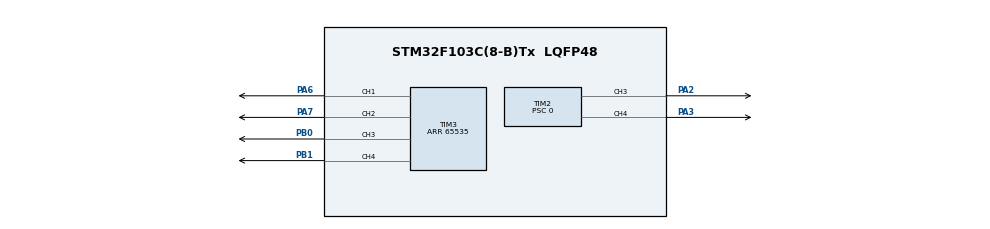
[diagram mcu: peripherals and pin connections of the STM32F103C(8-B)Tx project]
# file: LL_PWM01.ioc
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Mcu.Family=STM32F1
Mcu.Name=STM32F103C(8-B)Tx
Mcu.Package=LQFP48
NVIC.PriorityGroup=NVIC_PRIORITYGROUP_4
PA13.Mode=Serial_Wire
PA13.Signal=SYS_JTMS-SWDIO
PA14.Mode=Serial_Wire
PA14.Signal=SYS_JTCK-SWCLK
PA2.Signal=S_TIM2_CH3
PA3.Signal=S_TIM2_CH4
PA6.Signal=S_TIM3_CH1
PA7.Signal=S_TIM3_CH2
PB0.Signal=S_TIM3_CH3
PB1.Signal=S_TIM3_CH4
PD0-OSC_IN.Mode=HSE-External-Oscillator
PD0-OSC_IN.Signal=RCC_OSC_IN
PD1-OSC_OUT.Mode=HSE-External-Oscillator
PD1-OSC_OUT.Signal=RCC_OSC_OUT
ProjectManager.HeapSize=0x200
ProjectManager.StackSize=0x400
ProjectManager.TargetToolchain=STM32CubeIDE
RCC.AHBFreq_Value=72000000
RCC.APB1CLKDivider=RCC_HCLK_DIV2
RCC.APB1Freq_Value=36000000
RCC.APB1TimFreq_Value=72000000
RCC.APB2Freq_Value=72000000
RCC.APB2TimFreq_Value=72000000
RCC.HCLKFreq_Value=72000000
RCC.PLLMUL=RCC_PLL_MUL9
RCC.PLLSourceVirtual=RCC_PLLSOURCE_HSE
RCC.SYSCLKFreq_VALUE=72000000
RCC.SYSCLKSource=RCC_SYSCLKSOURCE_PLLCLK
RCC.USBFreq_Value=72000000
SH.S_TIM2_CH3.0=TIM2_CH3,PWM Generation3 CH3
SH.S_TIM2_CH4.0=TIM2_CH4,PWM Generation4 CH4
SH.S_TIM3_CH1.0=TIM3_CH1,PWM Generation1 CH1
SH.S_TIM3_CH2.0=TIM3_CH2,PWM Generation2 CH2
SH.S_TIM3_CH3.0=TIM3_CH3,PWM Generation3 CH3
SH.S_TIM3_CH4.0=TIM3_CH4,PWM Generation4 CH4
TIM2.Channel-PWM\ Generation3\ CH3=TIM_CHANNEL_3
TIM2.Channel-PWM\ Generation4\ CH4=TIM_CHANNEL_4
TIM2.Period=65535
TIM2.Prescaler=0
TIM2.TIM_MasterOutputTrigger=TIM_TRGO_RESET
TIM3.Channel-PWM\ Generation1\ CH1=TIM_CHANNEL_1
TIM3.Channel-PWM\ Generation2\ CH2=TIM_CHANNEL_2
TIM3.Channel-PWM\ Generation3\ CH3=TIM_CHANNEL_3
TIM3.Channel-PWM\ Generation4\ CH4=TIM_CHANNEL_4
TIM3.Period=65535
VP_TIM2_VS_ClockSourceINT.Mode=Internal
VP_TIM3_VS_ClockSourceINT.Mode=Internal
board=custom

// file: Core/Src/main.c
/* USER CODE BEGIN Header */
/**
  ******************************************************************************
  * @file           : main.c
  * @brief          : Main program body
  ******************************************************************************
  ** This notice applies to any and all portions of this file
  * that are not between comment pairs USER CODE BEGIN and
  * USER CODE END. Other portions of this file, whether
  * inserted by the user or by software development tools
  * are owned by their respective copyright owners.
  *
  * COPYRIGHT(c) 2019 STMicroelectronics
  *
  * Redistribution and use in source and binary forms, with or without modification,
  * are permitted provided that the following conditions are met:
  *   1. Redistributions of source code must retain the above copyright notice,
  *      this list of conditions and the following disclaimer.
  *   2. Redistributions in binary form must reproduce the above copyright notice,
  *      this list of conditions and the following disclaimer in the documentation
  *      and/or other materials provided with the distribution.
  *   3. Neither the name of STMicroelectronics nor the names of its contributors
  *      may be used to endorse or promote products derived from this software
  *      without specific prior written permission.
  *
  * THIS SOFTWARE IS PROVIDED BY THE COPYRIGHT HOLDERS AND CONTRIBUTORS "AS IS"
  * AND ANY EXPRESS OR IMPLIED WARRANTIES, INCLUDING, BUT NOT LIMITED TO, THE
  * IMPLIED WARRANTIES OF MERCHANTABILITY AND FITNESS FOR A PARTICULAR PURPOSE ARE
  * DISCLAIMED. IN NO EVENT SHALL THE COPYRIGHT HOLDER OR CONTRIBUTORS BE LIABLE
  * FOR ANY DIRECT, INDIRECT, INCIDENTAL, SPECIAL, EXEMPLARY, OR CONSEQUENTIAL
  * DAMAGES (INCLUDING, BUT NOT LIMITED TO, PROCUREMENT OF SUBSTITUTE GOODS OR
  * SERVICES; LOSS OF USE, DATA, OR PROFITS; OR BUSINESS INTERRUPTION) HOWEVER
  * CAUSED AND ON ANY THEORY OF LIABILITY, WHETHER IN CONTRACT, STRICT LIABILITY,
  * OR TORT (INCLUDING NEGLIGENCE OR OTHERWISE) ARISING IN ANY WAY OUT OF THE USE
  * OF THIS SOFTWARE, EVEN IF ADVISED OF THE POSSIBILITY OF SUCH DAMAGE.
  *
  ******************************************************************************
  */

#include <stdint.h>
/* USER CODE END Header */
#include "main.h"

void SystemClock_Config(void);
static void MX_GPIO_Init(void);
static void MX_TIM2_Init(void);
static void MX_TIM3_Init(void);

int main(void)
{
  /* USER CODE BEGIN 1 */
  uint32_t i,d;
  /* USER CODE END 1 */

  /* MCU Configuration--------------------------------------------------------*/

  /* Reset of all peripherals, Initializes the Flash interface and the Systick. */

  LL_APB2_GRP1_EnableClock(LL_APB2_GRP1_PERIPH_AFIO);
  LL_APB1_GRP1_EnableClock(LL_APB1_GRP1_PERIPH_PWR);

  NVIC_SetPriorityGrouping(NVIC_PRIORITYGROUP_4);

  /* System interrupt init*/

  /** NOJTAG: JTAG-DP Disabled and SW-DP Enabled
  */
  LL_GPIO_AF_Remap_SWJ_NOJTAG();

  /* Configure the system clock */
  SystemClock_Config();

  /* Initialize all configured peripherals */
  MX_GPIO_Init();
  MX_TIM2_Init();
  MX_TIM3_Init();
  /* USER CODE BEGIN 2 */
  LL_TIM_CC_EnableChannel(TIM2, LL_TIM_CHANNEL_CH3 | LL_TIM_CHANNEL_CH4);
  LL_TIM_CC_EnableChannel(TIM3, LL_TIM_CHANNEL_CH1 | LL_TIM_CHANNEL_CH2 | \
                          LL_TIM_CHANNEL_CH3 | LL_TIM_CHANNEL_CH4);
  LL_TIM_EnableCounter(TIM2);
  LL_TIM_EnableCounter(TIM3);
  /* USER CODE END 2 */

  /* Infinite loop */
  while (1)
  {

    /* USER CODE BEGIN 3 */
    for(i=0;i<768432;i++)
    {
      if(i<65536)  LL_TIM_OC_SetCompareCH3(TIM2,i);
      else if ((i>65535)&&(i<131072)) LL_TIM_OC_SetCompareCH3(TIM2,131071-i);//TIM2->CCR3=131071-i;
      else if((i>131071)&&(i<196608)) LL_TIM_OC_SetCompareCH4(TIM2,i-131072);//TIM2->CCR4=i-131072;
      else if ((i>196607)&&(i<262144))  LL_TIM_OC_SetCompareCH4(TIM2,262143-i);//TIM2->CCR4=262143-i;
      else if((i>262143)&&(i<327680)) LL_TIM_OC_SetCompareCH1(TIM3,i-262144);//TIM3->CCR1=i-262144;
      else if ((i>327679)&&(i<393216))  LL_TIM_OC_SetCompareCH1(TIM3,393215-i);//TIM3->CCR1=393215-i;
      else if((i>393215)&&(i<458752)) LL_TIM_OC_SetCompareCH2(TIM3,i-393216);//TIM3->CCR2=i-393216;
      else if ((i>458751)&&(i<524288))  LL_TIM_OC_SetCompareCH2(TIM3,524287-i);//TIM3->CCR2=524287-i;
      else if((i>524287)&&(i<589824)) LL_TIM_OC_SetCompareCH3(TIM3,i-524288);//TIM3->CCR3=i-524288;
      else if ((i>589823)&&(i<655360))  LL_TIM_OC_SetCompareCH3(TIM3,655359-i);//TIM3->CCR3=655359-i;
      else if((i>655359)&&(i<720896)) LL_TIM_OC_SetCompareCH4(TIM3,i-655360);//TIM3->CCR4=i-655360;
      else LL_TIM_OC_SetCompareCH4(TIM3,768431-i);//TIM3->CCR4=768431-i;
      for(d=0;d<50;d++) {}
    }
  }
  /* USER CODE END 3 */
}

void SystemClock_Config(void)
{
  LL_FLASH_SetLatency(LL_FLASH_LATENCY_2);
  while(LL_FLASH_GetLatency()!= LL_FLASH_LATENCY_2)
  {
  }
  LL_RCC_HSE_Enable();

   /* Wait till HSE is ready */
  while(LL_RCC_HSE_IsReady() != 1)
  {

  }
  LL_RCC_PLL_ConfigDomain_SYS(LL_RCC_PLLSOURCE_HSE_DIV_1, LL_RCC_PLL_MUL_9);
  LL_RCC_PLL_Enable();

   /* Wait till PLL is ready */
  while(LL_RCC_PLL_IsReady() != 1)
  {

  }
  LL_RCC_SetAHBPrescaler(LL_RCC_SYSCLK_DIV_1);
  LL_RCC_SetAPB1Prescaler(LL_RCC_APB1_DIV_2);
  LL_RCC_SetAPB2Prescaler(LL_RCC_APB2_DIV_1);
  LL_RCC_SetSysClkSource(LL_RCC_SYS_CLKSOURCE_PLL);

   /* Wait till System clock is ready */
  while(LL_RCC_GetSysClkSource() != LL_RCC_SYS_CLKSOURCE_STATUS_PLL)
  {

  }
  LL_Init1msTick(72000000);
  LL_SetSystemCoreClock(72000000);
}

static void MX_TIM2_Init(void)
{

  LL_TIM_InitTypeDef TIM_InitStruct = {0};
  LL_TIM_OC_InitTypeDef TIM_OC_InitStruct = {0};

  LL_GPIO_InitTypeDef GPIO_InitStruct = {0};

  /* Peripheral clock enable */
  LL_APB1_GRP1_EnableClock(LL_APB1_GRP1_PERIPH_TIM2);

  TIM_InitStruct.Prescaler = 0;
  TIM_InitStruct.CounterMode = LL_TIM_COUNTERMODE_UP;
  TIM_InitStruct.Autoreload = 65535;
  TIM_InitStruct.ClockDivision = LL_TIM_CLOCKDIVISION_DIV1;
  LL_TIM_Init(TIM2, &TIM_InitStruct);
  LL_TIM_DisableARRPreload(TIM2);
  LL_TIM_SetClockSource(TIM2, LL_TIM_CLOCKSOURCE_INTERNAL);
  LL_TIM_OC_EnablePreload(TIM2, LL_TIM_CHANNEL_CH3);
  TIM_OC_InitStruct.OCMode = LL_TIM_OCMODE_PWM1;
  TIM_OC_InitStruct.OCState = LL_TIM_OCSTATE_DISABLE;
  TIM_OC_InitStruct.OCNState = LL_TIM_OCSTATE_DISABLE;
  TIM_OC_InitStruct.CompareValue = 0;
  TIM_OC_InitStruct.OCPolarity = LL_TIM_OCPOLARITY_HIGH;
  LL_TIM_OC_Init(TIM2, LL_TIM_CHANNEL_CH3, &TIM_OC_InitStruct);
  LL_TIM_OC_DisableFast(TIM2, LL_TIM_CHANNEL_CH3);
  LL_TIM_OC_EnablePreload(TIM2, LL_TIM_CHANNEL_CH4);
  LL_TIM_OC_Init(TIM2, LL_TIM_CHANNEL_CH4, &TIM_OC_InitStruct);
  LL_TIM_OC_DisableFast(TIM2, LL_TIM_CHANNEL_CH4);
  LL_TIM_SetTriggerOutput(TIM2, LL_TIM_TRGO_RESET);
  LL_TIM_DisableMasterSlaveMode(TIM2);
  LL_APB2_GRP1_EnableClock(LL_APB2_GRP1_PERIPH_GPIOA);
  /**TIM2 GPIO Configuration
  PA2   ------> TIM2_CH3
  PA3   ------> TIM2_CH4
  */
  GPIO_InitStruct.Pin = LL_GPIO_PIN_2|LL_GPIO_PIN_3;
  GPIO_InitStruct.Mode = LL_GPIO_MODE_ALTERNATE;
  GPIO_InitStruct.Speed = LL_GPIO_SPEED_FREQ_LOW;
  GPIO_InitStruct.OutputType = LL_GPIO_OUTPUT_PUSHPULL;
  LL_GPIO_Init(GPIOA, &GPIO_InitStruct);

}

static void MX_TIM3_Init(void)
{

  LL_TIM_InitTypeDef TIM_InitStruct = {0};
  LL_TIM_OC_InitTypeDef TIM_OC_InitStruct = {0};

  LL_GPIO_InitTypeDef GPIO_InitStruct = {0};

  /* Peripheral clock enable */
  LL_APB1_GRP1_EnableClock(LL_APB1_GRP1_PERIPH_TIM3);

  TIM_InitStruct.Prescaler = 0;
  TIM_InitStruct.CounterMode = LL_TIM_COUNTERMODE_UP;
  TIM_InitStruct.Autoreload = 65535;
  TIM_InitStruct.ClockDivision = LL_TIM_CLOCKDIVISION_DIV1;
  LL_TIM_Init(TIM3, &TIM_InitStruct);
  LL_TIM_DisableARRPreload(TIM3);
  LL_TIM_SetClockSource(TIM3, LL_TIM_CLOCKSOURCE_INTERNAL);
  LL_TIM_OC_EnablePreload(TIM3, LL_TIM_CHANNEL_CH1);
  TIM_OC_InitStruct.OCMode = LL_TIM_OCMODE_PWM1;
  TIM_OC_InitStruct.OCState = LL_TIM_OCSTATE_DISABLE;
  TIM_OC_InitStruct.OCNState = LL_TIM_OCSTATE_DISABLE;
  TIM_OC_InitStruct.CompareValue = 0;
  TIM_OC_InitStruct.OCPolarity = LL_TIM_OCPOLARITY_HIGH;
  LL_TIM_OC_Init(TIM3, LL_TIM_CHANNEL_CH1, &TIM_OC_InitStruct);
  LL_TIM_OC_DisableFast(TIM3, LL_TIM_CHANNEL_CH1);
  LL_TIM_OC_EnablePreload(TIM3, LL_TIM_CHANNEL_CH2);
  LL_TIM_OC_Init(TIM3, LL_TIM_CHANNEL_CH2, &TIM_OC_InitStruct);
  LL_TIM_OC_DisableFast(TIM3, LL_TIM_CHANNEL_CH2);
  LL_TIM_OC_EnablePreload(TIM3, LL_TIM_CHANNEL_CH3);
  LL_TIM_OC_Init(TIM3, LL_TIM_CHANNEL_CH3, &TIM_OC_InitStruct);
  LL_TIM_OC_DisableFast(TIM3, LL_TIM_CHANNEL_CH3);
  LL_TIM_OC_EnablePreload(TIM3, LL_TIM_CHANNEL_CH4);
  LL_TIM_OC_Init(TIM3, LL_TIM_CHANNEL_CH4, &TIM_OC_InitStruct);
  LL_TIM_OC_DisableFast(TIM3, LL_TIM_CHANNEL_CH4);
  LL_TIM_SetTriggerOutput(TIM3, LL_TIM_TRGO_RESET);
  LL_TIM_DisableMasterSlaveMode(TIM3);
  LL_APB2_GRP1_EnableClock(LL_APB2_GRP1_PERIPH_GPIOA);
  LL_APB2_GRP1_EnableClock(LL_APB2_GRP1_PERIPH_GPIOB);
  /**TIM3 GPIO Configuration
  PA6   ------> TIM3_CH1
  PA7   ------> TIM3_CH2
  PB0   ------> TIM3_CH3
  PB1   ------> TIM3_CH4
  */
  GPIO_InitStruct.Pin = LL_GPIO_PIN_6|LL_GPIO_PIN_7;
  GPIO_InitStruct.Mode = LL_GPIO_MODE_ALTERNATE;
  GPIO_InitStruct.Speed = LL_GPIO_SPEED_FREQ_LOW;
  GPIO_InitStruct.OutputType = LL_GPIO_OUTPUT_PUSHPULL;
  LL_GPIO_Init(GPIOA, &GPIO_InitStruct);

  GPIO_InitStruct.Pin = LL_GPIO_PIN_0|LL_GPIO_PIN_1;
  GPIO_InitStruct.Mode = LL_GPIO_MODE_ALTERNATE;
  GPIO_InitStruct.Speed = LL_GPIO_SPEED_FREQ_LOW;
  GPIO_InitStruct.OutputType = LL_GPIO_OUTPUT_PUSHPULL;
  LL_GPIO_Init(GPIOB, &GPIO_InitStruct);

}

static void MX_GPIO_Init(void)
{

  /* GPIO Ports Clock Enable */
  LL_APB2_GRP1_EnableClock(LL_APB2_GRP1_PERIPH_GPIOD);
  LL_APB2_GRP1_EnableClock(LL_APB2_GRP1_PERIPH_GPIOA);
  LL_APB2_GRP1_EnableClock(LL_APB2_GRP1_PERIPH_GPIOB);

}

/* USER CODE BEGIN 4 */
void TIM2_Callback(void)
{

}
/* USER CODE END 4 */

void Error_Handler(void)
{
}
